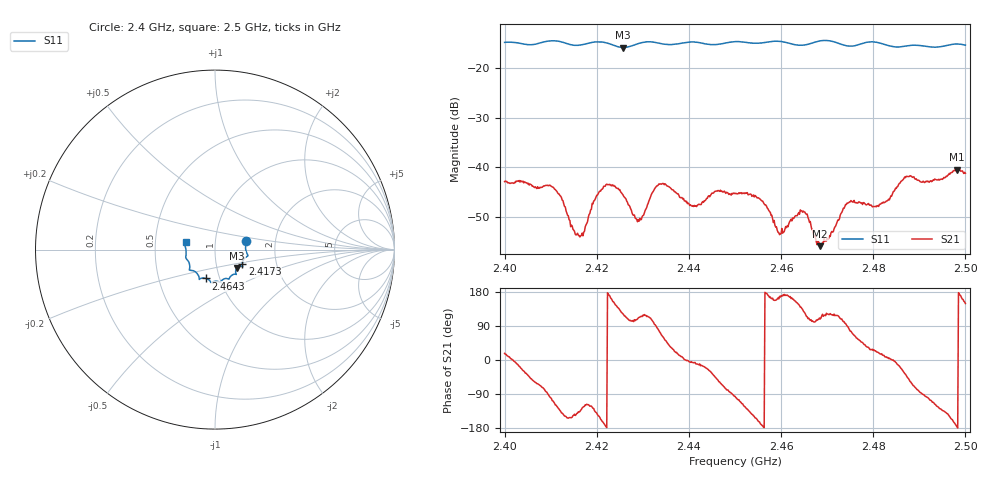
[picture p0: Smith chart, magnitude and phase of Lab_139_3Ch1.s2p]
# Hz S RI R 50
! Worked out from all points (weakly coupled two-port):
!   601 points, 2.4 GHz to 2.5 GHz, reference 50 ohm
!   highest |S21| = -40.49 dB at 2.4982 GHz (marker M1); lowest = -55.8 dB at 2.4685 GHz (marker M2)
!   lowest |S11| = -15.9 dB at 2.4257 GHz (marker M3), VSWR 1.38, Z = 62.5 - j13.1 ohm
!   |S11| at or under -10 dB: start of sweep to end of sweep
!   S12 and S22 are empty: the file has one direction only
!   S11 on the Smith chart (normalised r, x): 2.4 GHz: 1.41, +0.14; 2.4173 GHz: 1.34, -0.23; 2.4643 GHz: 0.86, -0.28; 2.5 GHz: 0.72, +0.06
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2.4e9  0.1731 0.0495  0.00686 0.00217  0 0  0 0
2.410333e9  0.1837 -0.0337  -0.0019 -0.00607  0 0  0 0
2.416667e9  0.1527 -0.0746  -0.00135 -0.00159  0 0  0 0
2.417333e9  0.1521 -0.082  -0.00123 -0.00193  0 0  0 0
2.4195e9  0.1538 -0.0965  -0.00321 -0.00337  0 0  0 0
2.421667e9  0.1527 -0.0949  -0.00636 -0.00116  0 0  0 0
2.425667e9  0.1227 -0.1023  -0.00282 0.00451  0 0  0 0
2.429167e9  0.1161 -0.1323  -0.0011 0.00266  0 0  0 0
2.433333e9  0.1128 -0.137  0.00106 0.00655  0 0  0 0
2.441167e9  0.0773 -0.1646  0.00412 -0.000485  0 0  0 0
2.446e9  0.0478 -0.1645  0.00377 -0.00441  0 0  0 0
2.45e9  0.0292 -0.1808  -0.000529 -0.00542  0 0  0 0
2.4555e9  -0.00266 -0.1773  -0.00468 -0.000981  0 0  0 0
2.459833e9  -0.0233 -0.1827  -0.00208 0.000514  0 0  0 0
2.464333e9  -0.0499 -0.1608  -0.00279 0.00239  0 0  0 0
2.466667e9  -0.0761 -0.1596  -0.000495 0.00234  0 0  0 0
2.4685e9  -0.0866 -0.1652  -0.000508 0.00154  0 0  0 0
2.474667e9  -0.103 -0.1293  0.000479 0.00439  0 0  0 0
2.483333e9  -0.1407 -0.0899  0.00478 0.00033  0 0  0 0
2.487167e9  -0.1563 -0.0554  0.00615 -0.0053  0 0  0 0
2.498167e9  -0.1705 0.0321  -0.00943 -0.000679  0 0  0 0
2.5e9  -0.1637 0.042  -0.00749 0.00449  0 0  0 0
